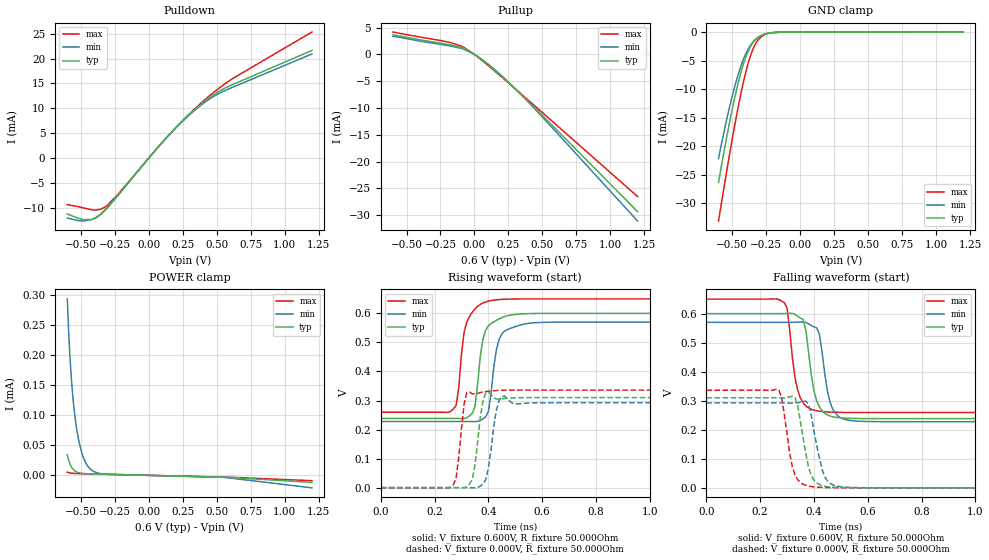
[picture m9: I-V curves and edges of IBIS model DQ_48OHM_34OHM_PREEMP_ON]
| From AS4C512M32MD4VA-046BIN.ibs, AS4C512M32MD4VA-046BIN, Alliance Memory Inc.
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|   MODEL: DQ_48OHM_34OHM_PREEMP_ON
[Model]   DQ_48OHM_34OHM_PREEMP_ON
Model_type   I/O
Polarity   Non-Inverting
Enable   Active-High
Vinl   = 0.080V
Vinh   = 0.220V
Vmeas   = 0.150V
Vref   = 0.150V
Cref   = 0.000pF
Rref   = 50.000Ohm
|   typ   min   max
C_comp   0.875pF   0.788pF   0.963pF
[Voltage Range]   0.600V   0.570V   0.650V
[Temperature Range]   25.0   85.0   -40.0
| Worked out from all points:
|   slope of the pulldown table from 0 to 0.09 V, typ, clamps not added: 31.1 ohm
|   slope of the pullup table from 0 to 0.09 V, typ, clamps not added: 52.7 ohm
|   GND clamp passes 1 mA (typ) near -0.31 V on its own axis
|   rising waveform, V_fixture 0.600V, R_fixture 50.000Ohm: 20-80 % time 31.1ps typ, 32.1ps min, 31.8ps max; typ from 0.238 V to 0.6 V
|   falling waveform, V_fixture 0.600V, R_fixture 50.000Ohm: 20-80 % time 34.8ps typ, 34.9ps min, 33.3ps max; typ from 0.6 V to 0.238 V
|   rising waveform, V_fixture 0.000V, R_fixture 50.000Ohm: 20-80 % time 23.9ps typ, 26.2ps min, 22.8ps max; typ from 0 V to 0.31 V
|   falling waveform, V_fixture 0.000V, R_fixture 50.000Ohm: 20-80 % time 37.1ps typ, 39.2ps min, 34.3ps max; typ from 0.31 V to 0 V
[Pulldown]
|   Voltage   I(typ)   I(min)   I(max)
-600mV    -11.29mA   -12.1mA    -9.399mA
-480mV    -12.41mA   -12.69mA   -10.07mA
-420mV    -12.4mA    -12.4mA    -10.44mA
-350mV    -11.31mA   -11.2mA    -10.3mA
-310mV    -10.22mA   -10.13mA   -9.646mA
-230mV    -7.655mA   -7.604mA   -7.404mA
130mV     4.124mA    4.073mA    4.076mA
270mV     8.079mA    7.954mA    8.096mA
400mV     11.19mA    10.96mA    11.44mA
490mV     12.95mA    12.6mA     13.49mA
580mV     14.32mA    13.81mA    15.3mA
1.2V      21.66mA    20.94mA    25.35mA
[Pullup]
|   Voltage   I(typ)   I(min)   I(max)
-600mV    3.666mA    3.362mA    4.175mA
-180mV    1.791mA    1.583mA    2.24mA
-100mV    1.29mA     1.134mA    1.576mA
0V        0A         0A         0A
80mV      -1.505mA   -1.39mA    -1.643mA
220mV     -4.564mA   -4.445mA   -4.653mA
400mV     -8.893mA   -8.998mA   -8.629mA
1.2V      -29.33mA   -31.08mA   -26.52mA
[GND Clamp]
|   Voltage   I(typ)   I(min)   I(max)
-600mV    -26.36mA   -22.19mA   -33.14mA
-550mV    -19.73mA   -16.43mA   -25.84mA
-510mV    -14.79mA   -12.27mA   -20.24mA
-470mV    -10.36mA   -8.615mA   -14.96mA
-430mV    -6.627mA   -5.609mA   -10.17mA
-390mV    -3.805mA   -3.349mA   -6.151mA
-360mV    -2.341mA   -2.151mA   -3.819mA
-320mV    -1.14mA    -1.122mA   -1.755mA
-280mV    -524.1uA   -555.5uA   -715.7uA
-230mV    -184.4uA   -215.6uA   -213.3uA
-140mV    -20.29uA   -29.99uA   -17.96uA
1.2V      6.836uA    7.386uA    6.714uA
[POWER Clamp]
|   Voltage   I(typ)   I(min)   I(max)
-600mV    34.27uA    294.1uA    5.169uA
-590mV    25uA       238.9uA    4.47uA
-570mV    13.84uA    160.6uA    3.674uA
-560mV    10.58uA    132.6uA    3.444uA
-540mV    6.655uA    91.24uA    3.146uA
-520mV    4.678uA    62.84uA    2.957uA
-490mV    3.339uA    35.2uA     2.748uA
-460mV    2.772uA    19.1uA     2.569uA
-420mV    2.39uA     8.47uA     2.342uA
-300mV    1.671uA    1.938uA    1.671uA
560mV     -3.13uA    -3.595uA   -3.086uA
1.2V      -11.8uA    -20.82uA   -8.926uA
[Ramp]
R_load = 50.000Ohm
|   typ   min   max
dV/dt_r   0.217V/30.000ps   0.205V/30.000ps   0.234V/40.000ps
dV/dt_f   0.217V/30.000ps   0.205V/30.000ps   0.234V/30.000ps
|Slew_r   7.233V/ns   6.845V/ns   5.857V/ns
|Slew_f   7.231V/ns   6.843V/ns   7.807V/ns
[Rising Waveform]
V_fixture = 0.600V
V_fixture_min = 0.570V
V_fixture_max = 0.650V
R_fixture = 50.000Ohm
L_fixture = 0.000nH
C_fixture = 0.000pF
|dV/dt_r   0.217V/30.000ps   0.205V/30.000ps   0.234V/40.000ps
|Slew_r   7.233V/ns   6.845V/ns   5.857V/ns
|   Time   V(typ)   V(min)   V(max)
0s        238.3mV    227.7mV    259.5mV
270ps     238.5mV    227.8mV    270.8mV
310ps     238mV      227.9mV    535.4mV
330ps     247.3mV    227.7mV    589.4mV
350ps     277.8mV    227.4mV    614.9mV
380ps     511.4mV    237mV      635.9mV
400ps     557mV      262mV      642.1mV
440ps     581mV      509.9mV    647.5mV
630ps     599.9mV    569.6mV    649.9mV
5ns       600mV      570mV      650mV
[Falling Waveform]
V_fixture = 0.600V
V_fixture_min = 0.570V
V_fixture_max = 0.650V
R_fixture = 50.000Ohm
L_fixture = 0.000nH
C_fixture = 0.000pF
|dV/dt_f   0.217V/30.000ps   0.205V/30.000ps   0.234V/30.000ps
|Slew_f   7.231V/ns   6.843V/ns   7.807V/ns
|   Time   V(typ)   V(min)   V(max)
0s        599.9mV    569.9mV    649.9mV
290ps     600.2mV    570mV      637.5mV
300ps     600.7mV    570mV      619.1mV
330ps     597.1mV    570.3mV    377.9mV
360ps     579.4mV    571.1mV    292.2mV
420ps     278.8mV    530mV      263.8mV
440ps     256.7mV    393.8mV    262mV
480ps     243.1mV    256.3mV    260.3mV
570ps     238.8mV    229.3mV    259.6mV
5ns       238.4mV    227.8mV    259.5mV
[Rising Waveform]
V_fixture = 0.000V
V_fixture_min = 0.000V
V_fixture_max = 0.000V
R_fixture = 50.000Ohm
L_fixture = 0.000nH
C_fixture = 0.000pF
|dV/dt_r   0.186V/30.000ps   0.175V/30.000ps   0.202V/20.000ps
|Slew_r   6.205V/ns   5.847V/ns   10.080V/ns
|   Time   V(typ)   V(min)   V(max)
0s        3.602uV    10.71uV    1.531uV
270ps     94.54uV    12.46uV    9.567mV
310ps     -363.3uV   69.43uV    288.5mV
330ps     11.66mV    -284.9uV   329.5mV
350ps     76.07mV    -540.8uV   322.6mV
380ps     298.5mV    12.95mV    329.3mV
400ps     329.5mV    66.27mV    332.2mV
430ps     305.4mV    267.3mV    334.3mV
460ps     306.8mV    315.3mV    335.2mV
5ns       310.2mV    292.4mV    336mV
[Falling Waveform]
V_fixture = 0.000V
V_fixture_min = 0.000V
V_fixture_max = 0.000V
R_fixture = 50.000Ohm
L_fixture = 0.000nH
C_fixture = 0.000pF
|dV/dt_f   0.186V/40.000ps   0.175V/40.000ps   0.202V/40.000ps
|Slew_f   4.653V/ns   4.385V/ns   5.039V/ns
|   Time   V(typ)   V(min)   V(max)
0s        310.2mV    292.3mV    335.9mV
270ps     310mV      292.4mV    336.7mV
280ps     309.7mV    292.4mV    311.7mV
310ps     313.2mV    291.9mV    118.1mV
330ps     310.1mV    291.8mV    43.3mV
380ps     70.56mV    287.2mV    6.063mV
410ps     17.11mV    147.3mV    2.531mV
450ps     4.035mV    24.07mV    898.6uV
540ps     500.8uV    1.229mV    89.2uV
5ns       3.997uV    10.84uV    1.934uV
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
